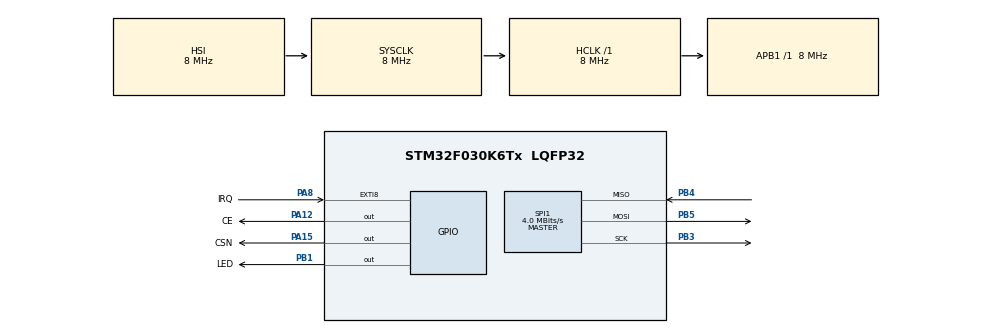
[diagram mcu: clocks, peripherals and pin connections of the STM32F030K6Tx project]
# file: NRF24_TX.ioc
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Mcu.Family=STM32F0
Mcu.Name=STM32F030K6Tx
Mcu.Package=LQFP32
PA12.GPIO_Label=CE
PA12.GPIO_PuPd=GPIO_PULLDOWN
PA12.Signal=GPIO_Output
PA13.Mode=Serial_Wire
PA13.Signal=SYS_SWDIO
PA14.Mode=Serial_Wire
PA14.Signal=SYS_SWCLK
PA15.GPIO_Label=CSN
PA15.GPIO_PuPd=GPIO_PULLUP
PA15.PinState=GPIO_PIN_SET
PA15.Signal=GPIO_Output
PA8.GPIO_Label=IRQ
PA8.GPIO_PuPd=GPIO_PULLUP
PA8.Signal=GPXTI8
PB1.GPIO_Label=LED
PB1.Signal=GPIO_Output
PB3.GPIO_PuPd=GPIO_PULLUP
PB3.Mode=Full_Duplex_Master
PB3.Signal=SPI1_SCK
PB4.GPIO_PuPd=GPIO_PULLUP
PB4.Mode=Full_Duplex_Master
PB4.Signal=SPI1_MISO
PB5.GPIO_PuPd=GPIO_PULLUP
PB5.Mode=Full_Duplex_Master
PB5.Signal=SPI1_MOSI
ProjectManager.HeapSize=0x200
ProjectManager.StackSize=0x400
ProjectManager.TargetToolchain=STM32CubeIDE
RCC.AHBFreq_Value=8000000
RCC.APB1Freq_Value=8000000
RCC.APB1TimFreq_Value=8000000
RCC.HCLKFreq_Value=8000000
RCC.PLLMUL=RCC_PLL_MUL4
RCC.SYSCLKFreq_VALUE=8000000
SPI1.BaudRatePrescaler=SPI_BAUDRATEPRESCALER_2
SPI1.CalculateBaudRate=4.0 MBits/s
SPI1.DataSize=SPI_DATASIZE_8BIT
SPI1.Direction=SPI_DIRECTION_2LINES
SPI1.Mode=SPI_MODE_MASTER
SPI1.VirtualType=VM_MASTER
board=custom

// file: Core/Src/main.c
/* USER CODE BEGIN Header */
/**
 ******************************************************************************
 * @file           : main.c
 * @brief          : Main program body
 ******************************************************************************
 * @attention
 *
 * Copyright (c) 2022 STMicroelectronics.
 * All rights reserved.
 *
 * This software is licensed under terms that can be found in the LICENSE file
 * in the root directory of this software component.
 * If no LICENSE file comes with this software, it is provided AS-IS.
 *
 ******************************************************************************
 */
/* USER CODE END Header */
#include "main.h"

/* USER CODE BEGIN Includes */
#include "nrf24l01.h"
/* USER CODE END Includes */

SPI_HandleTypeDef hspi1;

/* USER CODE BEGIN PV */
nrf24 nrfTx;

uint8_t txAddr[] = { 0xEA, 0xDD, 0xCC, 0xBB, 0xAA };
uint8_t txData[22] = "N1-Suscribete Prro!\n";
/* USER CODE END PV */

void SystemClock_Config(void);
static void MX_GPIO_Init(void);
static void MX_SPI1_Init(void);

int main(void) {

	/* MCU Configuration--------------------------------------------------------*/

	/* Reset of all peripherals, Initializes the Flash interface and the Systick. */
	HAL_Init();

	/* Configure the system clock */
	SystemClock_Config();

	/* Initialize all configured peripherals */
	MX_GPIO_Init();
	MX_SPI1_Init();
	/* USER CODE BEGIN 2 */
	// MODULE SETTINGS ----------------------------------------------
	nrfTx.CE_port = CE_GPIO_Port;
	nrfTx.CE_pin = CE_Pin;
	nrfTx.CSN_port = CSN_GPIO_Port;
	nrfTx.CSN_pin = CSN_Pin;
	nrfTx.IRQ_port = IRQ_GPIO_Port;
	nrfTx.IRQ_pin = IRQ_Pin;
	nrfTx.hSPIx = &hspi1;

	nrf24_init(&nrfTx);
	nrf24_setTxAddr(&nrfTx, txAddr);
	/* USER CODE END 2 */

	/* Infinite loop */
	/* USER CODE BEGIN WHILE */
	while (1) {
		nrf24_setMode(&nrfTx, txMode);
		if (nrf24_Transmit(&nrfTx, txData, sizeof(txData)) == 1) {
			nrf24_setMode(&nrfTx, standby);
			HAL_GPIO_TogglePin(LED_GPIO_Port, LED_Pin);
		}
		HAL_Delay(1000);
		/* USER CODE END WHILE */

	}
}

void SystemClock_Config(void) {
	RCC_OscInitTypeDef RCC_OscInitStruct = { 0 };
	RCC_ClkInitTypeDef RCC_ClkInitStruct = { 0 };

	/** Initializes the RCC Oscillators according to the specified parameters
	 * in the RCC_OscInitTypeDef structure.
	 */
	RCC_OscInitStruct.OscillatorType = RCC_OSCILLATORTYPE_HSI;
	RCC_OscInitStruct.HSIState = RCC_HSI_ON;
	RCC_OscInitStruct.HSICalibrationValue = RCC_HSICALIBRATION_DEFAULT;
	RCC_OscInitStruct.PLL.PLLState = RCC_PLL_NONE;
	if (HAL_RCC_OscConfig(&RCC_OscInitStruct) != HAL_OK) {
		Error_Handler();
	}

	/** Initializes the CPU, AHB and APB buses clocks
	 */
	RCC_ClkInitStruct.ClockType = RCC_CLOCKTYPE_HCLK | RCC_CLOCKTYPE_SYSCLK
			| RCC_CLOCKTYPE_PCLK1;
	RCC_ClkInitStruct.SYSCLKSource = RCC_SYSCLKSOURCE_HSI;
	RCC_ClkInitStruct.AHBCLKDivider = RCC_SYSCLK_DIV1;
	RCC_ClkInitStruct.APB1CLKDivider = RCC_HCLK_DIV1;

	if (HAL_RCC_ClockConfig(&RCC_ClkInitStruct, FLASH_LATENCY_0) != HAL_OK) {
		Error_Handler();
	}
}

static void MX_SPI1_Init(void) {

	/* SPI1 parameter configuration*/
	hspi1.Instance = SPI1;
	hspi1.Init.Mode = SPI_MODE_MASTER;
	hspi1.Init.Direction = SPI_DIRECTION_2LINES;
	hspi1.Init.DataSize = SPI_DATASIZE_8BIT;
	hspi1.Init.CLKPolarity = SPI_POLARITY_LOW;
	hspi1.Init.CLKPhase = SPI_PHASE_1EDGE;
	hspi1.Init.NSS = SPI_NSS_SOFT;
	hspi1.Init.BaudRatePrescaler = SPI_BAUDRATEPRESCALER_2;
	hspi1.Init.FirstBit = SPI_FIRSTBIT_MSB;
	hspi1.Init.TIMode = SPI_TIMODE_DISABLE;
	hspi1.Init.CRCCalculation = SPI_CRCCALCULATION_DISABLE;
	hspi1.Init.CRCPolynomial = 7;
	hspi1.Init.CRCLength = SPI_CRC_LENGTH_DATASIZE;
	hspi1.Init.NSSPMode = SPI_NSS_PULSE_ENABLE;
	if (HAL_SPI_Init(&hspi1) != HAL_OK) {
		Error_Handler();
	}

}

static void MX_GPIO_Init(void) {
	GPIO_InitTypeDef GPIO_InitStruct = { 0 };

	/* GPIO Ports Clock Enable */
	__HAL_RCC_GPIOB_CLK_ENABLE();
	__HAL_RCC_GPIOA_CLK_ENABLE();

	/*Configure GPIO pin Output Level */
	HAL_GPIO_WritePin(LED_GPIO_Port, LED_Pin, GPIO_PIN_RESET);

	/*Configure GPIO pin Output Level */
	HAL_GPIO_WritePin(CE_GPIO_Port, CE_Pin, GPIO_PIN_RESET);

	/*Configure GPIO pin Output Level */
	HAL_GPIO_WritePin(CSN_GPIO_Port, CSN_Pin, GPIO_PIN_SET);

	/*Configure GPIO pin : LED_Pin */
	GPIO_InitStruct.Pin = LED_Pin;
	GPIO_InitStruct.Mode = GPIO_MODE_OUTPUT_PP;
	GPIO_InitStruct.Pull = GPIO_NOPULL;
	GPIO_InitStruct.Speed = GPIO_SPEED_FREQ_LOW;
	HAL_GPIO_Init(LED_GPIO_Port, &GPIO_InitStruct);

	/*Configure GPIO pin : IRQ_Pin */
	GPIO_InitStruct.Pin = IRQ_Pin;
	GPIO_InitStruct.Mode = GPIO_MODE_IT_RISING;
	GPIO_InitStruct.Pull = GPIO_PULLUP;
	HAL_GPIO_Init(IRQ_GPIO_Port, &GPIO_InitStruct);

	/*Configure GPIO pin : CE_Pin */
	GPIO_InitStruct.Pin = CE_Pin;
	GPIO_InitStruct.Mode = GPIO_MODE_OUTPUT_PP;
	GPIO_InitStruct.Pull = GPIO_PULLDOWN;
	GPIO_InitStruct.Speed = GPIO_SPEED_FREQ_LOW;
	HAL_GPIO_Init(CE_GPIO_Port, &GPIO_InitStruct);

	/*Configure GPIO pin : CSN_Pin */
	GPIO_InitStruct.Pin = CSN_Pin;
	GPIO_InitStruct.Mode = GPIO_MODE_OUTPUT_PP;
	GPIO_InitStruct.Pull = GPIO_PULLUP;
	GPIO_InitStruct.Speed = GPIO_SPEED_FREQ_LOW;
	HAL_GPIO_Init(CSN_GPIO_Port, &GPIO_InitStruct);

}

void Error_Handler(void) {
	__disable_irq();
	while (1) {
	}
}
